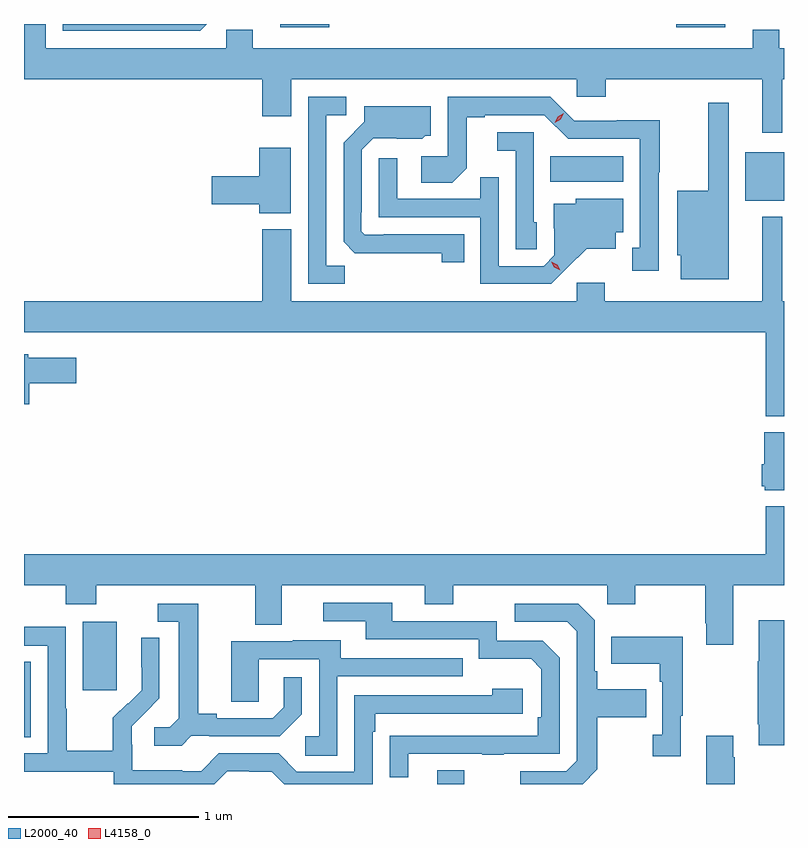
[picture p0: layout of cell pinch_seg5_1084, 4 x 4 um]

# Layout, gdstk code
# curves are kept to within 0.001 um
import gdstk
lib = gdstk.Library(unit=1e-6, precision=1e-09)
def R(c, l, rs):  # rectangles x0, y0, x1, y1
    for r in rs: c.add(gdstk.rectangle(r[:2], r[2:], *l))
def P(c, l, *ps):  # polygons
    for p in ps: c.add(gdstk.Polygon(p, *l))
L2000_40 = (2000, 40)
L4158_0 = (4158, 0)

pinch_seg5_1084 = lib.new_cell('pinch_seg5_1084')
R(pinch_seg5_1084, L2000_40, [(762.371,837.067,762.511,837.139), (760.195,837.313,760.231,837.71), (760.505,837.561,760.684,837.922), (763.991,840.137,764.195,840.391), (762.964,840.236,763.348,840.37), (761.544,841.05,761.801,841.067), (763.627,841.05,763.885,841.067)])
P(pinch_seg5_1084, L2000_40, [(764.185,840.776),(764.195,840.776),(764.195,840.94),(764.169,840.94),(764.169,841.038),(764.03,841.038),(764.03,840.94),(761.398,840.94),(761.398,841.038),(761.259,841.038),(761.259,840.94),(760.309,840.94),(760.309,841.067),(760.195,841.067),(760.195,840.776),(761.45,840.776),(761.45,840.582),(761.602,840.582),(761.602,840.776),(763.104,840.776),(763.104,840.683),(763.256,840.683),(763.256,840.776),(764.081,840.776),(764.081,840.495),(764.185,840.495)],
  [(761.157,841.067),(760.398,841.067),(760.398,841.032),(761.122,841.032)],
  [(763.537,840.286),(763.54,840.286),(763.54,840.56),(763.314,840.56),(763.314,840.558),(763.092,840.558),(762.966,840.684),(762.426,840.684),(762.426,840.372),(762.285,840.372),(762.285,840.232),(762.449,840.232),(762.525,840.308),(762.525,840.576),(762.619,840.576),(762.619,840.588),(762.933,840.588),(763.059,840.462),(763.436,840.462),(763.436,839.889),(763.397,839.889),(763.397,839.769),(763.537,839.769)],
  [(761.883,839.795),(761.787,839.795),(761.787,840.588),(761.89,840.588),(761.89,840.684),(761.691,840.684),(761.691,839.7),(761.883,839.7)],
  [(763.903,840.652),(763.797,840.652),(763.797,840.19),(763.634,840.19),(763.634,839.85),(763.652,839.85),(763.652,839.723),(763.903,839.723)],
  [(762.512,839.961),(762.088,839.961),(762.088,839.958),(761.988,839.958),(761.97,839.976),(761.97,840.076),(761.973,840.076),(761.973,840.405),(762.033,840.465),(762.29,840.464),(762.306,840.48),(762.337,840.48),(762.337,840.634),(761.987,840.634),(761.987,840.552),(761.877,840.442),(761.877,839.92),(761.936,839.861),(762.394,839.86),(762.394,839.814),(762.512,839.814)],
  [(762.894,840.024),(762.879,840.024),(762.879,840.498),(762.687,840.498),(762.687,840.401),(762.783,840.401),(762.783,839.881),(762.894,839.881)],
  [(761.599,840.415),(761.432,840.415),(761.432,840.266),(761.184,840.266),(761.184,840.119),(761.432,840.119),(761.432,840.071),(761.599,840.071)],
  [(763.054,839.783),(763.157,839.885),(763.309,839.885),(763.309,839.972),(763.348,839.972),(763.348,840.148),(763.098,840.148),(763.098,840.121),(762.983,840.121),(762.983,839.992),(762.987,839.992),(762.987,839.85),(762.93,839.793),(762.693,839.793),(762.693,840.26),(762.595,840.26),(762.595,840.147),(762.159,840.147),(762.159,840.361),(762.063,840.361),(762.063,840.051),(762.597,840.051),(762.597,839.7),(762.97,839.7)],
  [(764.195,839.608),(764.185,839.608),(764.185,840.052),(764.081,840.052),(764.081,839.608),(763.251,839.608),(763.251,839.704),(763.104,839.704),(763.104,839.608),(761.602,839.608),(761.602,839.986),(761.45,839.986),(761.45,839.608),(760.195,839.608),(760.195,839.444),(764.099,839.444),(764.099,839.003),(764.195,839.003)],
  [(760.222,839.177),(760.471,839.177),(760.471,839.311),(760.218,839.311),(760.218,839.329),(760.195,839.329),(760.195,839.066),(760.222,839.066)],
  [(764.195,838.918),(764.09,838.918),(764.09,838.749),(764.078,838.749),(764.078,838.635),(764.094,838.635),(764.094,838.613),(764.195,838.613)],
  [(763.927,838.112),(764.195,838.112),(764.195,838.528),(764.099,838.528),(764.099,838.276),(760.195,838.276),(760.195,838.112),(760.415,838.112),(760.415,838.013),(760.575,838.013),(760.575,838.112),(761.411,838.112),(761.411,837.904),(761.551,837.904),(761.551,838.112),(762.305,838.112),(762.305,838.013),(762.453,838.013),(762.453,838.112),(763.266,838.112),(763.266,838.013),(763.413,838.013),(763.413,838.112),(763.78,838.112),(763.78,837.913),(763.787,837.913),(763.787,837.801),(763.927,837.801)],
  [(762.217,837.225),(762.607,837.225),(762.607,837.22),(762.719,837.22),(762.719,837.225),(763.014,837.225),(763.014,837.732),(762.924,837.822),(762.684,837.822),(762.684,837.924),(762.133,837.924),(762.133,838.02),(761.769,838.02),(761.769,837.924),(761.993,837.924),(761.993,837.828),(762.588,837.828),(762.588,837.725),(762.865,837.725),(762.918,837.672),(762.918,837.418),(762.898,837.418),(762.898,837.321),(762.121,837.32),(762.121,837.102),(762.217,837.102)],
  [(763.213,837.145),(763.213,837.418),(763.469,837.418),(763.469,837.565),(763.213,837.565),(763.213,837.661),(763.2,837.661),(763.2,837.93),(763.113,838.017),(762.777,838.017),(762.777,837.921),(763.053,837.921),(763.104,837.87),(763.104,837.189),(763.05,837.135),(762.807,837.135),(762.807,837.067),(763.135,837.067)],
  [(761.076,837.321),(761.17,837.321),(761.17,837.318),(761.542,837.318),(761.658,837.434),(761.658,837.628),(761.561,837.628),(761.561,837.471),(761.504,837.414),(761.209,837.414),(761.209,837.437),(761.113,837.437),(761.113,838.017),(760.899,838.017),(760.899,837.921),(761.009,837.921),(761.009,837.413),(760.962,837.366),(760.881,837.366),(760.881,837.269),(761.024,837.269)],
  [(764.195,837.928),(764.063,837.928),(764.063,837.713),(764.056,837.713),(764.056,837.382),(764.063,837.382),(764.063,837.27),(764.195,837.27)],
  [(761.265,837.135),(761.381,837.135),(761.381,837.132),(761.499,837.132),(761.564,837.067),(762.03,837.067),(762.03,837.341),(762.043,837.341),(762.043,837.438),(762.82,837.438),(762.82,837.568),(762.659,837.568),(762.659,837.534),(761.934,837.534),(761.934,837.132),(761.631,837.132),(761.535,837.228),(761.22,837.228),(761.127,837.135),(761.027,837.135),(761.027,837.139),(760.764,837.139),(760.764,837.273),(760.762,837.273),(760.762,837.37),(760.908,837.518),(760.908,837.836),(760.812,837.836),(760.812,837.682),(760.814,837.682),(760.814,837.56),(760.743,837.489),(760.74,837.492),(760.663,837.415),(760.663,837.241),(760.419,837.241),(760.419,837.464),(760.416,837.464),(760.416,837.894),(760.195,837.894),(760.195,837.795),(760.32,837.795),(760.32,837.228),(760.195,837.228),(760.195,837.132),(760.668,837.132),(760.668,837.067),(761.197,837.067)],
  [(763.651,837.425),(763.663,837.425),(763.663,837.841),(763.285,837.841),(763.285,837.701),(763.542,837.701),(763.542,837.605),(763.554,837.605),(763.554,837.326),(763.503,837.326),(763.503,837.213),(763.651,837.213)],
  [(761.844,837.633),(762.503,837.633),(762.503,837.729),(761.863,837.729),(761.863,837.823),(761.609,837.823),(761.609,837.819),(761.285,837.819),(761.285,837.499),(761.43,837.499),(761.43,837.723),(761.748,837.723),(761.748,837.318),(761.676,837.318),(761.676,837.217),(761.844,837.217)],
  [(763.935,837.209),(763.927,837.209),(763.927,837.322),(763.787,837.322),(763.787,837.067),(763.935,837.067)])
P(pinch_seg5_1084, L4158_0, [(762.989,840.546),(762.989,840.546),(763.005,840.579),(763.036,840.598),(763.037,840.598),(763.037,840.598),(763.02,840.566),(762.989,840.546)],
  [(763.018,839.771),(762.987,839.786),(762.97,839.816),(762.97,839.816),(762.97,839.816),(763.001,839.801),(763.018,839.772),(763.018,839.771)])

lib.write_gds('pinch_seg5_1084.gds')
